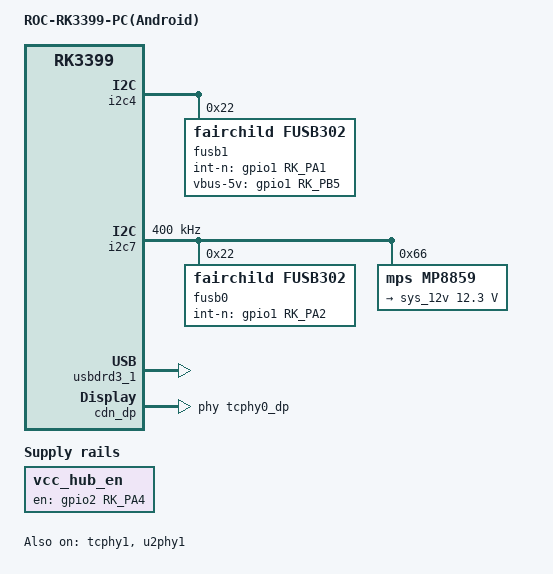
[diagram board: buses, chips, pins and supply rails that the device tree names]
/*
 * Copyright (c) 2016 Fuzhou Rockchip Electronics Co., Ltd
 *
 * This file is dual-licensed: you can use it either under the terms
 * of the GPL or the X11 license, at your option. Note that this dual
 * licensing only applies to this file, and not this project as a
 * whole.
 *
 *  a) This file is free software; you can redistribute it and/or
 *     modify it under the terms of the GNU General Public License as
 *     published by the Free Software Foundation; either version 2 of the
 *     License, or (at your option) any later version.
 *
 *     This file is distributed in the hope that it will be useful,
 *     but WITHOUT ANY WARRANTY; without even the implied warranty of
 *     MERCHANTABILITY or FITNESS FOR A PARTICULAR PURPOSE.  See the
 *     GNU General Public License for more details.
 *
 * Or, alternatively,
 *
 *  b) Permission is hereby granted, free of charge, to any person
 *     obtaining a copy of this software and associated documentation
 *     files (the "Software"), to deal in the Software without
 *     restriction, including without limitation the rights to use,
 *     copy, modify, merge, publish, distribute, sublicense, and/or
 *     sell copies of the Software, and to permit persons to whom the
 *     Software is furnished to do so, subject to the following
 *     conditions:
 *
 *     The above copyright notice and this permission notice shall be
 *     included in all copies or substantial portions of the Software.
 *
 *     THE SOFTWARE IS PROVIDED "AS IS", WITHOUT WARRANTY OF ANY KIND,
 *     EXPRESS OR IMPLIED, INCLUDING BUT NOT LIMITED TO THE WARRANTIES
 *     OF MERCHANTABILITY, FITNESS FOR A PARTICULAR PURPOSE AND
 *     NONINFRINGEMENT. IN NO EVENT SHALL THE AUTHORS OR COPYRIGHT
 *     HOLDERS BE LIABLE FOR ANY CLAIM, DAMAGES OR OTHER LIABILITY,
 *     WHETHER IN AN ACTION OF CONTRACT, TORT OR OTHERWISE, ARISING
 *     FROM, OUT OF OR IN CONNECTION WITH THE SOFTWARE OR THE USE OR
 *     OTHER DEALINGS IN THE SOFTWARE.
 */

/dts-v1/;

#include "rk3399-roc-pc-base.dtsi"

/ {
	model = "ROC-RK3399-PC(Android)";

	/* ROC-RK3399-PC porting */
	vcc_hub_en: vcc-hub-en-regulator {
		compatible = "regulator-fixed";
		enable-active-high;
		gpio = <&gpio2 RK_PA4 GPIO_ACTIVE_HIGH>;
		pinctrl-names = "default";
		pinctrl-0 = <&hub_rst_en>;
		regulator-name = "vcc_hub_en";
		regulator-always-on;
	};
	/* END ROC-RK3399-PC porting */

};

/* ROC-RK3399-PC porting */
&vcc5v0_sys {
		enable-active-high;
		gpio = <&gpio2 RK_PA6 GPIO_ACTIVE_HIGH>;
		pinctrl-names = "default";
		pinctrl-0 = < &vcc_5v0_h>;
};

&firefly_leds {
   power_led: power {
	   label = "firefly:green:power";
	   linux,default-trigger = "ir-power-click";
	   default-state = "on";
	   gpios = <&gpio2 RK_PD3 GPIO_ACTIVE_HIGH>;
	   pinctrl-names = "default";
	   pinctrl-0 = <&led_power>;
   };
   user_led: user {
	   label = "firefly:red:user";
	   linux,default-trigger = "ir-user-click";
	   default-state = "off";
	   gpios = <&gpio0 RK_PB5 GPIO_ACTIVE_HIGH>;
	   pinctrl-names = "default";
	   pinctrl-0 = <&led_user>;
   };
   user_led1: user1 {
	   label = "firefly:yellow:user";
	   linux,default-trigger = "ir-user-click";
	   default-state = "off";
	   gpios = <&gpio0 RK_PA2 GPIO_ACTIVE_HIGH>;
	   pinctrl-names = "default";
	   pinctrl-0 = <&led_user>;
   };
};

&i2c4 {
	/delete-node/ fusb30x@22;
	fusb1: fusb30x@22 {
		compatible = "fairchild,fusb302";
		reg = <0x22>;
		pinctrl-names = "default";
		pinctrl-0 = <&fusb1_int &fusb1_vbus_drv>;
		int-n-gpios = <&gpio1 RK_PA1 GPIO_ACTIVE_HIGH>;
		vbus-5v-gpios = <&gpio1 RK_PB5 GPIO_ACTIVE_HIGH>;
		//vbus-supply = <&sys_12v>;
		status = "okay";
	};
};


&i2c7 {
	status = "okay";
	i2c-scl-rising-time-ns = <200>;
	i2c-scl-falling-time-ns = <200>;
	clock-frequency = <400000>;

	fusb0: fusb30x@22 {
		compatible = "fairchild,fusb302";
		reg = <0x22>;
		power-dev = <&mp8859>;
		pinctrl-names = "default";
		pinctrl-0 = <&fusb0_int>;
		int-n-gpios = <&gpio1 RK_PA2 GPIO_ACTIVE_HIGH>;
		status = "okay";
	};

	mp8859: mp8859@66 {
		compatible = "mps,mp8859";
		reg = <0x66>;
		status = "okay";
        extcon = <&fusb0>;
		max-input-voltage = <15000000>;
		max-input-current = <3000000>;

		regulators {
			sys_12v: mp8859_dcdc1 {
				regulator-name = "sys_12v";
				regulator-min-microvolt = <12300000>;
				regulator-max-microvolt = <12300000>;
				regulator-ramp-delay = <8000>;
				//regulator-always-on;
				//regulator-boot-on;
			};
		};
	};
};

&tcphy1 {
	extcon = <&fusb1>;
	status = "okay";
};

&u2phy1 {
	status = "okay";
	extcon = <&fusb1>;
};

&usbdrd3_1 {
	status = "okay";
	extcon = <&fusb1>;
};


&cdn_dp {
 status = "okay";
 extcon = <&fusb0 &fusb1>;
 phys = <&tcphy0_dp &tcphy1_dp>;
};


&gmac {
    tx_delay = <0x2E>;
    rx_delay = <0x23>;
};

&pinctrl {
	vcc_sys {
		vcc_5v0_h: vcc-5v0-h {
			rockchip,pins = <2 6 RK_FUNC_GPIO &pcfg_pull_none>;
		};
	};

	fusb30x {
		fusb0_int: fusb0-int {
			rockchip,pins = <1 2 RK_FUNC_GPIO &pcfg_pull_up>;
		};

		fusb1_int: fusb1-int {
			rockchip,pins = <1 1 RK_FUNC_GPIO &pcfg_pull_up>;
		};

		fusb1_vbus_drv: fusb1-vbus-drv{
			rockchip,pins = <1 13 RK_FUNC_GPIO &pcfg_pull_up>;
		};
	};
};
/* END ROC-RK3399-PC porting */
